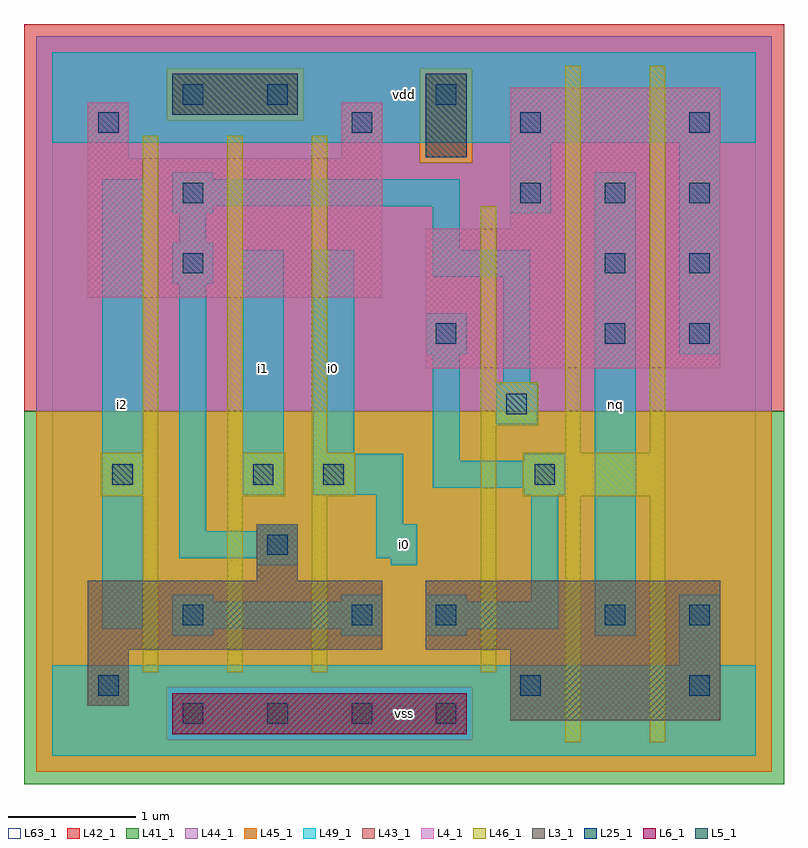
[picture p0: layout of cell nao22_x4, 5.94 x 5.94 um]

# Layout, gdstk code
import gdstk
lib = gdstk.Library(unit=1e-6, precision=1e-09)
def R(c, l, rs):  # rectangles x0, y0, x1, y1
    for r in rs: c.add(gdstk.rectangle(r[:2], r[2:], *l))
def A(c, l, x, y, w, h, nx, ny, dx, dy):  # array of equal rectangles
    R(c, l, [(x+i*dx, y+j*dy, x+i*dx+w, y+j*dy+h) for i in range(nx) for j in range(ny)])
L3_1 = (3, 1)
L4_1 = (4, 1)
L5_1 = (5, 1)
L6_1 = (6, 1)
L25_1 = (25, 1)
L41_1 = (41, 1)
L42_1 = (42, 1)
L43_1 = (43, 1)
L44_1 = (44, 1)
L45_1 = (45, 1)
L46_1 = (46, 1)
L49_1 = (49, 1)
L63_1 = (63, 1)

nao22_x4 = lib.new_cell('nao22_x4')
R(nao22_x4, L3_1, [(3.58,0.28,5.22,0.83), (0.28,0.39,0.6,0.83), (0.28,0.83,2.58,1.37), (2.92,0.83,5.22,1.37), (1.6,1.37,1.92,1.81)])
R(nao22_x4, L4_1, [(2.92,3.03,5.22,4.12), (0.28,3.58,2.58,4.67), (3.58,4.12,5.22,5.22), (0.28,4.67,0.6,5.11), (2.26,4.67,2.58,5.11)])
R(nao22_x4, L5_1, [(2.92,4.68,3.24,5.33), (0.94,5.01,1.92,5.33)])
R(nao22_x4, L6_1, [(0.94,0.17,3.24,0.49)])
A(nao22_x4, L25_1, 1.02, 0.25, 0.16, 0.16, 4, 1, 0.66, 0)
A(nao22_x4, L25_1, 3.66, 4.32, 0.16, 0.16, 3, 1, 0.66, 0)
A(nao22_x4, L25_1, 2.34, 4.87, 0.16, 0.16, 3, 1, 1.32, 0)
R(nao22_x4, L25_1, [(0.36,0.47,0.52,0.63), (3.66,0.47,3.82,0.63), (4.98,0.47,5.14,0.63), (1.02,1.02,1.18,1.18), (2.34,1.02,2.5,1.18), (3,1.02,3.16,1.18), (4.32,1.02,4.48,1.18), (4.98,1.02,5.14,1.18), (1.68,1.57,1.84,1.73), (0.47,2.12,0.63,2.28), (1.57,2.12,1.73,2.28), (2.12,2.12,2.28,2.28), (3.77,2.12,3.93,2.28), (3.55,2.67,3.71,2.83), (3,3.22,3.16,3.38), (4.32,3.22,4.48,3.38), (4.98,3.22,5.14,3.38), (1.02,3.77,1.18,3.93), (4.32,3.77,4.48,3.93), (4.98,3.77,5.14,3.93), (1.02,4.32,1.18,4.48), (0.36,4.87,0.52,5.03), (1.02,5.09,1.18,5.25), (1.68,5.09,1.84,5.25), (3,5.09,3.16,5.25)])
R(nao22_x4, L41_1, [(-0.22,-0.22,5.72,2.695)])
R(nao22_x4, L42_1, [(-0.22,2.695,5.72,5.72)])
R(nao22_x4, L43_1, [(0.94,0.17,3.24,0.49), (3.58,0.28,5.22,0.83), (0.28,0.39,0.6,0.83), (0.28,0.83,2.58,1.37), (2.92,0.83,5.22,1.37), (1.6,1.37,1.92,1.81), (2.92,3.03,5.22,4.12), (0.28,3.58,2.58,4.67), (3.58,4.12,5.22,5.22), (0.28,4.67,0.6,5.11), (2.26,4.67,2.58,5.11), (2.92,4.68,3.24,5.33), (0.94,5.01,1.92,5.33)])
R(nao22_x4, L44_1, [(0.895,0.125,3.285,0.535), (-0.125,2.695,5.625,4.635), (-0.125,4.635,2.875,4.965), (3.285,4.635,5.625,5.375), (-0.125,4.965,0.895,5.375), (1.965,4.965,2.875,5.375), (-0.125,5.375,5.625,5.625)])
R(nao22_x4, L45_1, [(-0.125,-0.125,5.625,0.125), (-0.125,0.125,0.895,0.535), (3.285,0.125,5.625,0.535), (-0.125,0.535,5.625,2.695), (2.875,4.635,3.285,5.375), (0.895,4.965,1.965,5.375)])
A(nao22_x4, L46_1, 0.71, 0.655, 0.12, 1.375, 3, 1, 0.66, 0)
A(nao22_x4, L46_1, 0.71, 2.37, 0.12, 2.475, 3, 1, 0.66, 0)
R(nao22_x4, L46_1, [(4.01,0.105,4.13,2.03), (4.67,0.105,4.79,2.03), (3.35,0.655,3.47,2.58), (0.38,2.03,0.83,2.37), (1.37,2.03,1.82,2.37), (2.03,2.03,2.37,2.37), (3.68,2.03,4.79,2.37), (4.01,2.37,4.13,5.395), (4.67,2.37,4.79,5.395), (3.35,2.58,3.8,2.92), (3.35,2.92,3.47,4.295)])
R(nao22_x4, L49_1, [(0,0,5.5,0.71), (4.9,0.71,5.22,1.26), (0.94,0.94,1.26,0.995), (2.26,0.94,2.58,0.995), (2.92,0.94,3.24,0.995), (4.24,0.94,4.56,4.56), (0.39,0.995,0.71,4.505), (0.94,0.995,2.58,1.205), (2.92,0.995,3.955,1.205), (0.94,1.205,1.26,1.26), (2.26,1.205,2.58,1.26), (2.92,1.205,3.24,1.26), (3.745,1.205,3.955,2.04), (1.6,1.49,1.92,1.545), (2.645,1.49,2.855,1.545), (0.995,1.545,1.92,1.755), (2.535,1.545,2.855,1.81), (0.995,1.755,1.205,3.69), (1.6,1.755,1.92,1.81), (2.535,1.81,2.745,2.04), (1.49,2.04,1.81,3.955), (2.04,2.04,2.745,2.36), (3.69,2.04,4.01,2.095), (2.975,2.095,4.01,2.305), (2.975,2.305,3.185,3.14), (3.69,2.305,4.01,2.36), (2.04,2.36,2.36,3.955), (3.47,2.59,3.79,2.91), (3.525,2.91,3.735,3.745), (2.92,3.14,3.24,3.46), (4.9,3.14,5.22,4.79), (0.94,3.69,1.26,4.01), (2.975,3.745,3.735,3.955), (2.975,3.955,3.185,4.295), (0.995,4.01,1.205,4.24), (0.94,4.24,1.26,4.295), (3.58,4.24,3.9,4.79), (0.94,4.295,3.185,4.505), (0.94,4.505,1.26,4.56), (0,4.79,5.5,5.5)])
R(nao22_x4, L63_1, [(0,0,5.5,5.5)])
nao22_x4.add(gdstk.Label('i2', (0.55,2.75), layer=49, texttype=1))
nao22_x4.add(gdstk.Label('i2', (0.55,2.75), layer=49, texttype=1))
nao22_x4.add(gdstk.Label('i1', (1.65,3.025), layer=49, texttype=1))
nao22_x4.add(gdstk.Label('i0', (2.2,3.025), layer=49, texttype=1))
nao22_x4.add(gdstk.Label('i0', (2.2,3.025), layer=49, texttype=1))
nao22_x4.add(gdstk.Label('i1', (1.65,3.025), layer=49, texttype=1))
nao22_x4.add(gdstk.Label('vss', (2.75,0.33), layer=49, texttype=1))
nao22_x4.add(gdstk.Label('vss', (2.75,0.33), layer=49, texttype=1))
nao22_x4.add(gdstk.Label('i0', (2.75,1.65), layer=49, texttype=1))
nao22_x4.add(gdstk.Label('i0', (2.75,1.65), layer=49, texttype=1))
nao22_x4.add(gdstk.Label('vdd', (2.75,5.17), layer=49, texttype=1))
nao22_x4.add(gdstk.Label('vdd', (2.75,5.17), layer=49, texttype=1))
nao22_x4.add(gdstk.Label('nq', (4.4,2.75), layer=49, texttype=1))
nao22_x4.add(gdstk.Label('nq', (4.4,2.75), layer=49, texttype=1))

lib.write_gds('nao22_x4.gds')
